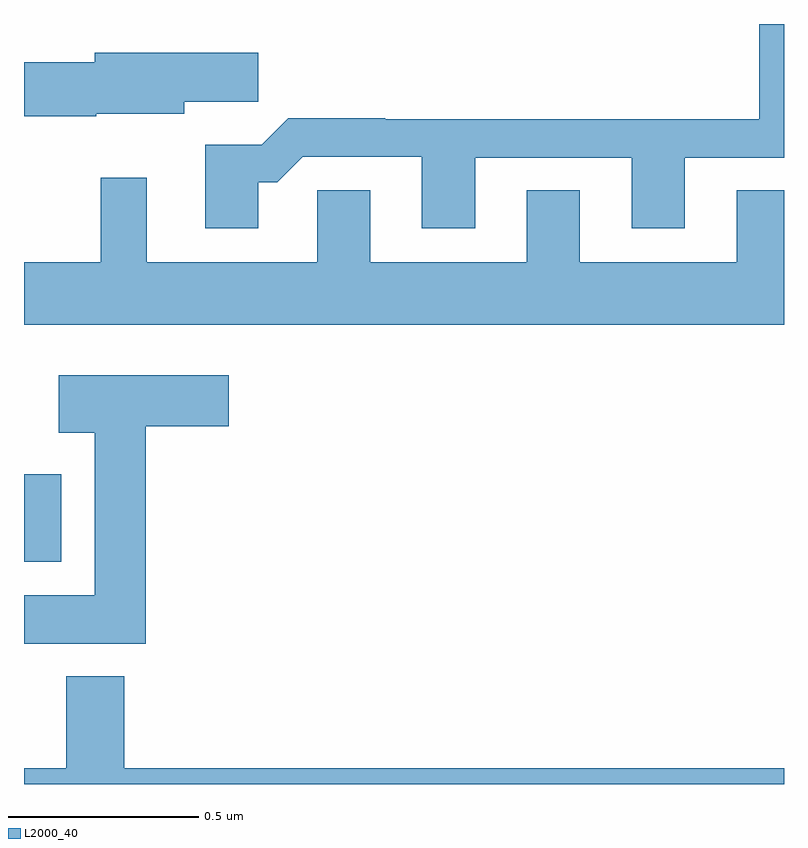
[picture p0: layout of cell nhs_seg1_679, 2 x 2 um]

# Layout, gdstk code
import gdstk
lib = gdstk.Library(unit=1e-6, precision=1e-09)
def R(c, l, rs):  # rectangles x0, y0, x1, y1
    for r in rs: c.add(gdstk.rectangle(r[:2], r[2:], *l))
def P(c, l, *ps):  # polygons
    for p in ps: c.add(gdstk.Polygon(p, *l))
L2000_40 = (2000, 40)

nhs_seg1_679 = lib.new_cell('nhs_seg1_679')
R(nhs_seg1_679, L2000_40, [(119,541.784,119.098,542.014)])
P(nhs_seg1_679, L2000_40, [(119.617,542.783),(119.666,542.783),(119.733,542.85),(120.047,542.85),(120.047,542.661),(120.187,542.661),(120.187,542.847),(120.599,542.847),(120.599,542.661),(120.739,542.661),(120.739,542.847),(121,542.847),(121,543.199),(120.935,543.199),(120.935,542.948),(119.951,542.948),(119.951,542.951),(119.696,542.951),(119.626,542.881),(119.477,542.881),(119.477,542.661),(119.617,542.661)],
  [(119.19,542.963),(119.422,542.963),(119.422,542.995),(119.617,542.995),(119.617,543.124),(119.186,543.124),(119.186,543.098),(119,543.098),(119,542.956),(119.19,542.956)],
  [(121,542.762),(120.875,542.762),(120.875,542.572),(120.463,542.572),(120.463,542.762),(120.323,542.762),(120.323,542.572),(119.911,542.572),(119.911,542.762),(119.772,542.762),(119.772,542.572),(119.323,542.572),(119.323,542.794),(119.202,542.794),(119.202,542.572),(119,542.572),(119,542.408),(121,542.408)],
  [(119.321,542.141),(119.539,542.141),(119.539,542.275),(119.091,542.275),(119.091,542.123),(119.186,542.123),(119.186,541.696),(119,541.696),(119,541.568),(119.321,541.568)],
  [(121,541.24),(119.264,541.24),(119.264,541.483),(119.111,541.483),(119.111,541.24),(119,541.24),(119,541.199),(121,541.199)])

lib.write_gds('nhs_seg1_679.gds')
